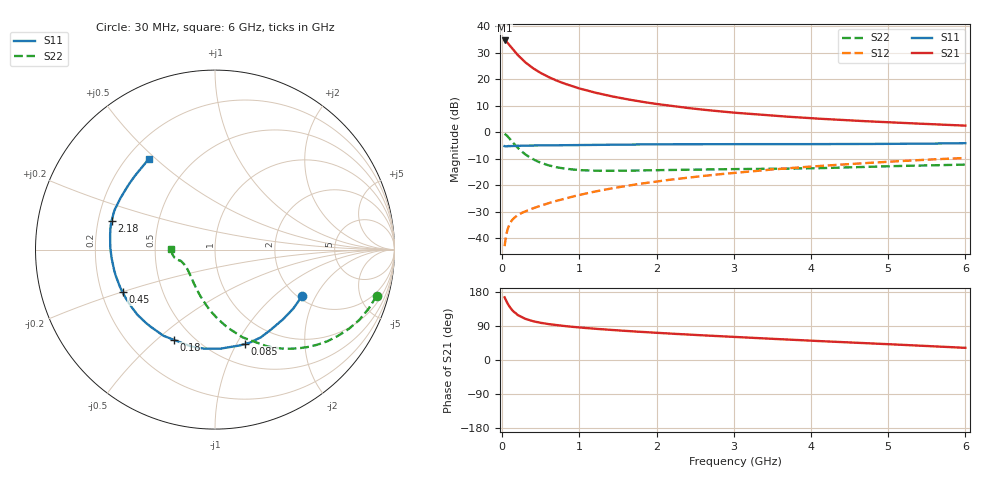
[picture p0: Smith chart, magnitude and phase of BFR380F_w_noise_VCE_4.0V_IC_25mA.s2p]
! Infineon Technologies  Discrete & RF Semiconductors
! BFR380F
! VCE =  4.0 V,  IC =  25 mA
! Common Emitter S-Parameters:  Nov 2015
# GHz  S  MA  R  50
!  f  S11  S21  S12  S22
! GHz  MAG  ANG  MAG  ANG  MAG  ANG  MAG  ANG
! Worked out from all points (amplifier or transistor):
!   206 points, 30 MHz to 6 GHz, reference 50 ohm
!   highest |S21| = 34.7 dB at 30 MHz (marker M1)
!   |S21| within 3 dB of that: start of sweep to 127.4 MHz
!   unconditionally stable (mu >= 1): 1.243 GHz to 4.988 GHz
!   at 200 MHz: K = 0.43, MSG = 30.2 dB, |S12| = -31.2 dB
!   at 1.56 GHz: K = 1.02, MAG = 15.7 dB, |S12| = -20.4 dB
!   at 6 GHz: K = 0.98, MSG = 6.1 dB, |S12| = -9.7 dB
!   lowest NFmin = 1.13 dB at 900 MHz
!   S11 on the Smith chart (normalised r, x): 30 MHz: 2.09, -1.56; 85 MHz: 0.72, -1.08; 180 MHz: 0.39, -0.57; 450 MHz: 0.29, -0.20; 2.18 GHz: 0.26, +0.13; 6 GHz: 0.29, +0.47
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0.03  0.5494 -28.2  54.46 165.4  0.0071 80.0  0.9367 -16.0
0.05  0.5425 -45.9  52.08 156.2  0.0114 73.1  0.8942 -26.0
0.07  0.5513 -62.3  48.63 148.5  0.015 67.6  0.8373 -35.0
0.085  0.5517 -72.4  45.91 143.6  0.0171 64.7  0.7924 -41.1
0.11  0.5528 -86.8  41.47 136.2  0.0202 59.9  0.7183 -50.0
0.13  0.555 -96.3  38.15 131.3  0.0224 57.1  0.6639 -56.1
0.15  0.5552 -104.9  35.2 127.0  0.024 55.3  0.6143 -61.5
0.18  0.5525 -114.5  31.37 122.4  0.026 53.5  0.5509 -67.6
0.2  0.5594 -120.9  28.95 118.7  0.0274 52.4  0.5129 -72.5
0.24  0.5595 -129.6  25.31 114.3  0.0295 51.7  0.4527 -79.1
0.3  0.5644 -140.1  20.96 108.6  0.0324 51.7  0.3835 -88.1
0.38  0.5651 -149.2  17.05 103.5  0.036 53.0  0.3233 -97.2
0.45  0.5676 -155.2  14.57 100.0  0.0391 54.4  0.2863 -104.2
0.7  0.5734 -168.2  9.559 92.0  0.0508 59.4  0.2203 -122.7
1.04  0.5798 -177.9  6.509 85.2  0.0679 63.7  0.1928 -138.6
1.42  0.587 174.9  4.793 79.2  0.0878 66.0  0.1881 -149.3
2.02  0.5964 166.7  3.41 71.6  0.1195 66.9  0.1935 -157.1
2.18  0.5976 164.7  3.173 69.7  0.1279 66.8  0.1954 -158.4
3.1  0.5995 155.5  2.3 60.0  0.1773 65.2  0.2031 -162.5
4.1  0.6005 145.5  1.815 50.0  0.2315 61.7  0.2109 -163.7
5.1  0.6076 136.0  1.529 40.8  0.284 57.4  0.2312 -169.5
6  0.6254 126.2  1.34 32.1  0.3286 52.4  0.2464 179.8
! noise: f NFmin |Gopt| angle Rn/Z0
0.45  1.16  0.25  179  0.08
0.9  1.13  0.3  177  0.07
1.8  1.34  0.38  -171  0.08
1.9  1.42  0.39  -171  0.08
2.4  1.5  0.41  -161  0.09
3.5  2.08  0.49  -150  0.13
